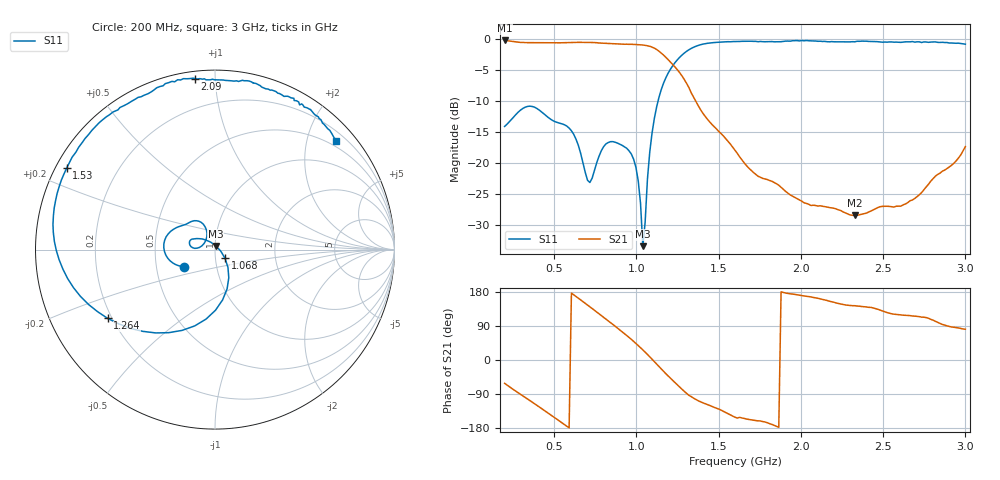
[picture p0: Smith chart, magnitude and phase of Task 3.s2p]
# HZ S RI R 50
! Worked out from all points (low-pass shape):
!   201 points, 200 MHz to 3 GHz, reference 50 ohm
!   highest |S21| = -0.26 dB at 200 MHz (marker M1); lowest = -28.5 dB at 2.328 GHz (marker M2)
!   |S21| within 3 dB of the highest: start of sweep to 1.19 GHz
!   lowest |S11| = -33.4 dB at 1.04 GHz (marker M3), VSWR 1.04, Z = 50.4 + j2.1 ohm
!   |S11| at or under -10 dB: start of sweep to 1.133 GHz
!   S12 and S22 are empty: the file has one direction only
!   S11 on the Smith chart (normalised r, x): 200 MHz: 0.70, -0.14; 1.068 GHz: 1.11, -0.11; 1.264 GHz: 0.18, -0.28; 1.53 GHz: 0.03, +0.26; 2.09 GHz: 0.04, +0.89; 3 GHz: 0.38, +2.55
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2e8  -0.1711 -0.0972  0.4611 -0.8534  0 0  0 0
3.12e8  -0.2737 -0.0311  -0.0818 -0.9316  0 0  0 0
4.1e8  -0.2465 0.1021  -0.5172 -0.7727  0 0  0 0
5.5e8  -0.1369 0.1543  -0.9026 -0.2234  0 0  0 0
6.76e8  -0.0444 0.0903  -0.8416 0.4079  0 0  0 0
7.18e8  -0.0603 0.0348  -0.7217 0.595  0 0  0 0
8.3e8  -0.1422 0.0333  -0.2106 0.8919  0 0  0 0
9.7e8  -0.1007 0.0615  0.5239 0.7362  0 0  0 0
1.012e9  -0.0487 0.0526  0.7062 0.5534  0 0  0 0
1.04e9  0.00461 0.0208  0.7963 0.4005  0 0  0 0
1.068e9  0.0559 -0.0488  0.8493 0.2234  0 0  0 0
1.096e9  0.0769 -0.1565  0.8565 0.0305  0 0  0 0
1.138e9  0.00284 -0.3378  0.7586 -0.2368  0 0  0 0
1.264e9  -0.598 -0.3832  0.17 -0.5052  0 0  0 0
1.376e9  -0.884 -0.0051  -0.087 -0.2768  0 0  0 0
1.53e9  -0.826 0.4549  -0.118 -0.115  0 0  0 0
1.6e9  -0.7388 0.5978  -0.1107 -0.0613  0 0  0 0
2.076e9  -0.1205 0.955  -0.0441 0.0116  0 0  0 0
2.09e9  -0.112 0.9532  -0.0436 0.0125  0 0  0 0
2.328e9  0.1315 0.9369  -0.0302 0.0226  0 0  0 0
2.538e9  0.3169 0.8889  -0.0248 0.0372  0 0  0 0
3e9  0.6724 0.6066  0.0206 0.1338  0 0  0 0
